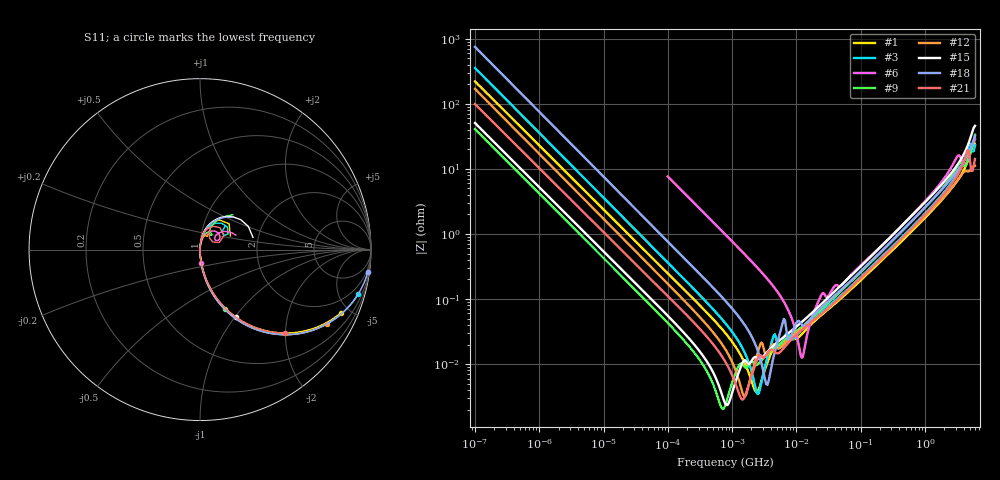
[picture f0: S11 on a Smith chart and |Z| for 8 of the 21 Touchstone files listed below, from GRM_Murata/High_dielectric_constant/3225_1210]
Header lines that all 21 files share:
!These Parameters are Measured in Series Mode Connection
!Data Generated on Mar 30, 2021
!  o--ll--o
!Port1  Port2
!  o------o
!Operation Temp=25[degC], DC Bias Voltage=0[V]
# Hz S RI R 50
!Freq.(Hz) S11(Real) S11(Imag) S21(Real) S21(Imag) S12(Real) S12(Imag) S22(Real) S22(Imag)
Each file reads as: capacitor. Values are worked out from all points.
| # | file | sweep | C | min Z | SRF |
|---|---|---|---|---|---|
| 1 | GRM32AR61C106KAB7.s2p | 100 Hz to 6 GHz | 7.18 uF | 3.71 mohm | 2.439 MHz |
| 2 | GRM32DB11C106KA01.s2p | 100 Hz to 6 GHz | 9.21 uF | 3.07 mohm | 1.725 MHz |
| 3 | GRM32DB11E475KA61.s2p | 100 Hz to 6 GHz | 4.48 uF | 3.47 mohm | 2.552 MHz |
| 4 | GRM32DR60J336ME19.s2p | 100 Hz to 6 GHz | 23.2 uF | 2.72 mohm | 1.101 MHz |
| 5 | GRM32DR71E106KA12.s2p | 100 Hz to 6 GHz | 9.57 uF | 2.91 mohm | 1.703 MHz |
| 6 | GRM32DR72E224KW01.s2p | 100 kHz to 6 GHz | 208 nF | 12.6 mohm | 12.27 MHz |
| 7 | GRM32DR72J473KW01.s2p | 100 kHz to 6 GHz | 45.4 nF | 25 mohm | 28.02 MHz |
| 8 | GRM32EB30J107ME16.s2p | 100 Hz to 6 GHz | 67.4 uF | 1.83 mohm | 558.3 kHz |
| 9 | GRM32EB30J476ME16.s2p | 100 Hz to 6 GHz | 38.9 uF | 2.04 mohm | 736 kHz |
| 10 | GRM32EC80G227ME05.s2p | 100 Hz to 6 GHz | 173 uF | 1.45 mohm | 322.3 kHz |
| 11 | GRM32EC81E226KE15.s2p | 100 Hz to 6 GHz | 16.3 uF | 2.76 mohm | 1.233 MHz |
| 12 | GRM32ER6YA106MA12.s2p | 100 Hz to 6 GHz | 9.38 uF | 3.17 mohm | 1.597 MHz |
| 13 | GRM32ER7YA106MA12.s2p | 100 Hz to 6 GHz | 8.86 uF | 3.11 mohm | 1.619 MHz |
| 14 | GRM32ER61E226KE15.s2p | 100 Hz to 6 GHz | 20.1 uF | 2.57 mohm | 1.092 MHz |
| 15 | GRM32ER70J476KE20.s2p | 100 Hz to 6 GHz | 31.3 uF | 2.35 mohm | 845.4 kHz |
| 16 | GRM32ER71J106MA12.s2p | 100 Hz to 6 GHz | 9.57 uF | 2.91 mohm | 1.541 MHz |
| 17 | GRM32ER71K475ME14.s2p | 100 Hz to 6 GHz | 4.51 uF | 3.85 mohm | 2.431 MHz |
| 18 | GRM32ER72A225KA35.s2p | 100 Hz to 6 GHz | 2.12 uF | 4.81 mohm | 3.526 MHz |
| 19 | GRM32MB11C225KA01.s2p | 100 Hz to 6 GHz | 2.1 uF | 4.99 mohm | 4.139 MHz |
| 20 | GRM32MB11H474MA01.s2p | 100 Hz to 6 GHz | 467 nF | 10.7 mohm | 9.501 MHz |
| 21 | GRM32NB31A226KE19.s2p | 100 Hz to 6 GHz | 16 uF | 2.84 mohm | 1.474 MHz |
